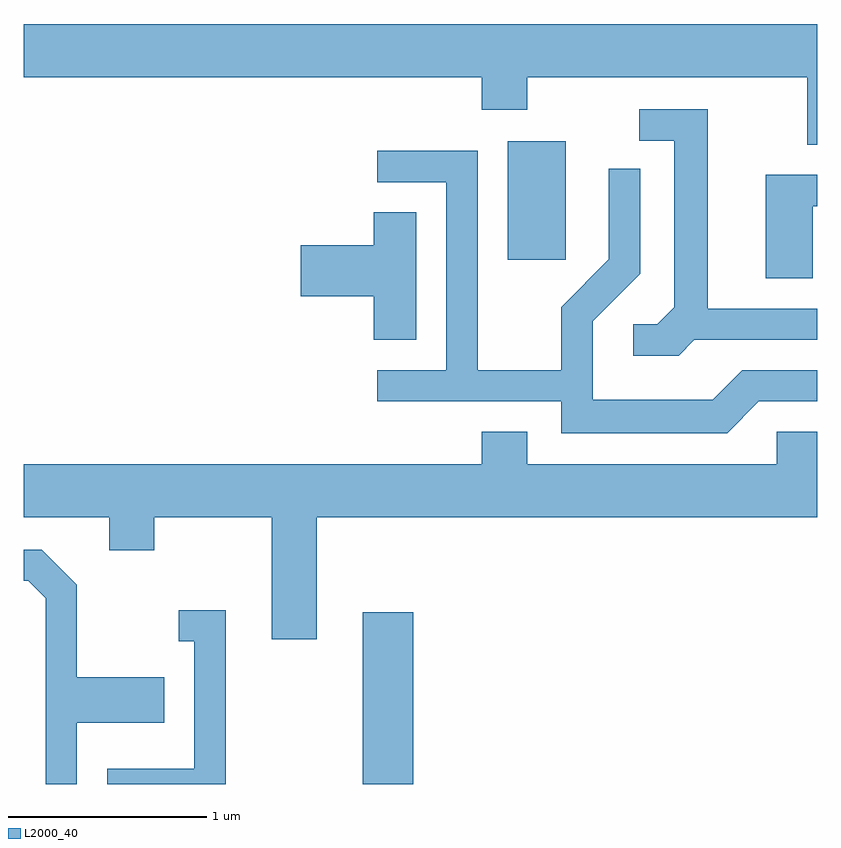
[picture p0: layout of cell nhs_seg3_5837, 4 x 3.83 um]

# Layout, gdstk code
import gdstk
lib = gdstk.Library(unit=1e-6, precision=1e-09)
def R(c, l, rs):  # rectangles x0, y0, x1, y1
    for r in rs: c.add(gdstk.rectangle(r[:2], r[2:], *l))
def P(c, l, *ps):  # polygons
    for p in ps: c.add(gdstk.Polygon(p, *l))
L2000_40 = (2000, 40)

nhs_seg3_5837 = lib.new_cell('nhs_seg3_5837')
R(nhs_seg3_5837, L2000_40, [(357.321,1237.892,357.574,1238.759), (358.051,1240.536,358.344,1241.134)])
P(nhs_seg3_5837, L2000_40, [(359.611,1241.724),(355.611,1241.724),(355.611,1241.456),(357.921,1241.456),(357.921,1241.291),(358.149,1241.291),(358.149,1241.456),(359.561,1241.456),(359.561,1241.116),(359.611,1241.116)],
  [(358.992,1240.131),(359.611,1240.131),(359.611,1240.289),(359.059,1240.289),(359.059,1241.294),(358.713,1241.294),(358.713,1241.136),(358.891,1241.136),(358.891,1240.297),(358.804,1240.209),(358.683,1240.209),(358.683,1240.051),(358.912,1240.051)],
  [(359.317,1239.821),(359.611,1239.821),(359.611,1239.979),(359.234,1239.979),(359.084,1239.829),(358.479,1239.829),(358.479,1240.224),(358.719,1240.464),(358.719,1240.993),(358.561,1240.993),(358.561,1240.537),(358.321,1240.297),(358.321,1239.979),(357.899,1239.979),(357.899,1241.084),(357.393,1241.084),(357.393,1240.926),(357.741,1240.926),(357.741,1239.979),(357.393,1239.979),(357.393,1239.821),(358.321,1239.821),(358.321,1239.661),(359.157,1239.661)],
  [(359.589,1240.806),(359.611,1240.806),(359.611,1240.964),(359.351,1240.964),(359.351,1240.441),(359.589,1240.441)],
  [(357.589,1240.774),(357.376,1240.774),(357.376,1240.609),(357.006,1240.609),(357.006,1240.351),(357.376,1240.351),(357.376,1240.131),(357.589,1240.131)],
  [(357.089,1239.236),(359.611,1239.236),(359.611,1239.669),(359.406,1239.669),(359.406,1239.504),(358.149,1239.504),(358.149,1239.669),(357.921,1239.669),(357.921,1239.504),(355.611,1239.504),(355.611,1239.236),(356.041,1239.236),(356.041,1239.071),(356.269,1239.071),(356.269,1239.236),(356.861,1239.236),(356.861,1238.621),(357.089,1238.621)],
  [(355.879,1238.201),(356.319,1238.201),(356.319,1238.429),(355.879,1238.429),(355.879,1238.897),(355.702,1239.074),(355.611,1239.074),(355.611,1238.916),(355.634,1238.916),(355.721,1238.829),(355.721,1237.892),(355.879,1237.892)],
  [(356.629,1238.769),(356.393,1238.769),(356.393,1238.611),(356.471,1238.611),(356.471,1237.969),(356.031,1237.969),(356.031,1237.892),(356.629,1237.892)])

lib.write_gds('nhs_seg3_5837.gds')
